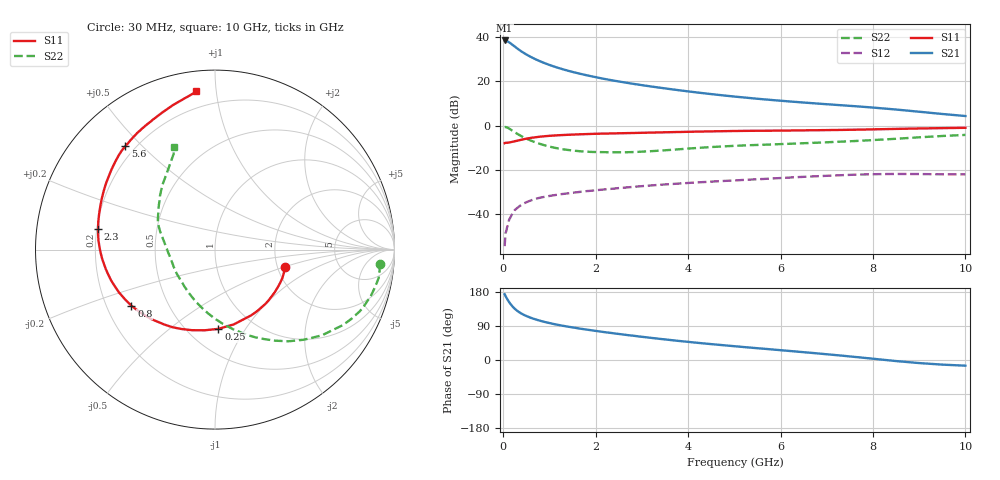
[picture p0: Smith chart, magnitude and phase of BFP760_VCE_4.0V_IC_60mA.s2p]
! Infineon Technologies  Discrete & RF Semiconductors
! BFP760
! VCE =  4.0 V,  IC =  60 mA
! Common Emitter S-Parameters:  Nov 2012
# GHz  S  MA  R  50
!  f  S11  S21  S12  S22
! GHz  MAG  ANG  MAG  ANG  MAG  ANG  MAG  ANG
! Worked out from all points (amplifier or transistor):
!   99 points, 30 MHz to 10 GHz, reference 50 ohm
!   highest |S21| = 38.4 dB at 30 MHz (marker M1)
!   |S21| within 3 dB of that: start of sweep to 265.3 MHz
!   unconditionally stable (mu >= 1): 3.511 GHz to end of sweep
!   at 350 MHz: K = 0.43, MSG = 35.2 dB, |S12| = -36.4 dB
!   at 3.5 GHz: K = 1.00, MSG = 21.7 dB, |S12| = -26.6 dB
!   at 10 GHz: K = 1.04, MAG = 12.0 dB, |S12| = -22.0 dB
!   S11 on the Smith chart (normalised r, x): 30 MHz: 2.19, -0.50; 250 MHz: 0.69, -0.76; 800 MHz: 0.31, -0.28; 2.3 GHz: 0.21, +0.08; 5.6 GHz: 0.16, +0.45; 10 GHz: 0.11, +0.88
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0.03  0.3999 -13.8  82.94 173.6  0.0019 81.8  0.9216 -5.0
0.05  0.4075 -22.7  82.83 168.6  0.0038 69.2  0.9253 -9.9
0.08  0.4089 -35.5  80.53 162.1  0.0049 69.6  0.9051 -16.8
0.13  0.4149 -54.5  74.84 152.4  0.0077 66.1  0.8517 -27.0
0.15  0.4181 -61.3  72.47 148.9  0.0083 68.0  0.826 -30.7
0.2  0.4297 -75.9  66.17 141.4  0.0104 63.8  0.7637 -38.7
0.25  0.4421 -87.6  60.39 135.2  0.0124 62.3  0.7053 -45.4
0.3  0.4535 -97.5  55.08 130.1  0.0137 58.5  0.6546 -51.3
0.35  0.4668 -105.9  50.44 125.8  0.0151 56.2  0.6094 -56.4
0.45  0.4931 -118.7  43.06 118.9  0.0176 52.7  0.5366 -65.5
0.6  0.5264 -132.9  35.11 111.2  0.0205 48.9  0.4564 -77.0
0.8  0.561 -146.1  28.04 103.5  0.0236 45.4  0.3838 -90.3
1  0.5856 -155.9  23.26 97.5  0.0258 43.4  0.3352 -101.9
1.2  0.6039 -163.6  19.82 92.4  0.0278 42.2  0.3029 -112.3
1.7  0.6359 -177.8  14.4 82.1  0.0322 41.2  0.2603 -133.9
2.3  0.6614 170.0  10.72 71.9  0.037 40.6  0.2492 -154.3
3.4  0.6999 152.5  7.105 55.6  0.0461 39.0  0.2722 177.4
5.1  0.7545 134.3  4.401 35.4  0.0584 34.6  0.3517 154.5
5.6  0.7623 130.9  3.931 30.1  0.0621 33.2  0.3673 149.7
6.7  0.7826 123.1  3.185 18.5  0.0712 28.9  0.4066 139.9
8.5  0.8394 106.0  2.295 -2.8  0.0809 17.1  0.5025 122.4
10  0.8878 96.7  1.638 -15.0  0.0793 11.6  0.6145 111.8
